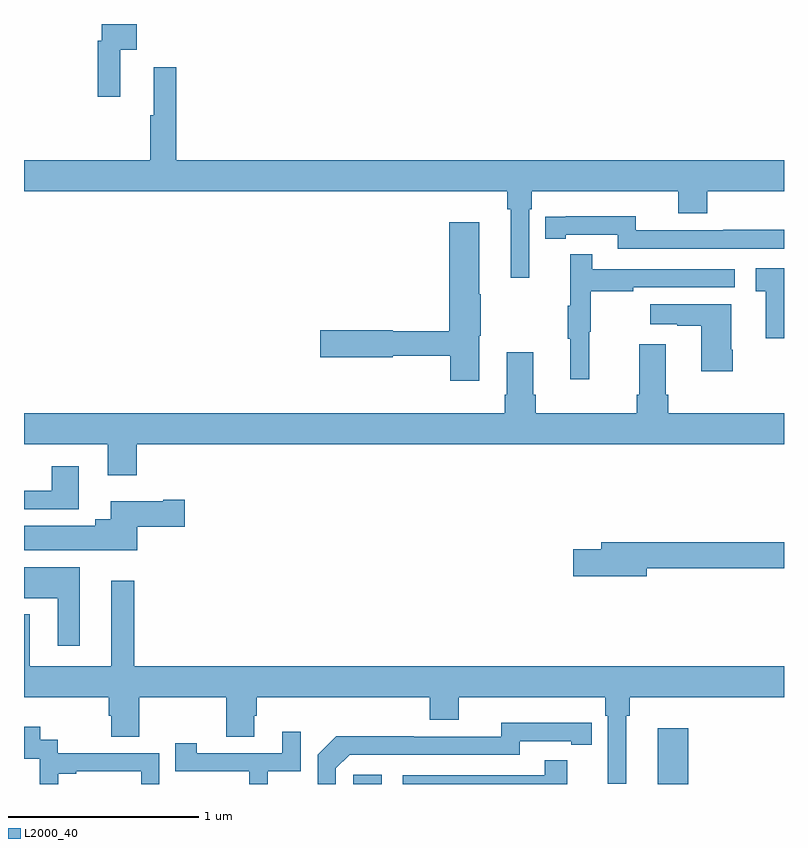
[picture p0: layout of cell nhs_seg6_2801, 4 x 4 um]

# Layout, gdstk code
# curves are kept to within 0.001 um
import gdstk
lib = gdstk.Library(unit=1e-6, precision=1e-09)
def R(c, l, rs):  # rectangles x0, y0, x1, y1
    for r in rs: c.add(gdstk.rectangle(r[:2], r[2:], *l))
def P(c, l, *ps):  # polygons
    for p in ps: c.add(gdstk.Polygon(p, *l))
L2000_40 = (2000, 40)

nhs_seg6_2801 = lib.new_cell('nhs_seg6_2801')
R(nhs_seg6_2801, L2000_40, [(276.732,993.5,276.883,993.55), (278.336,993.5,278.495,993.793)])
P(nhs_seg6_2801, L2000_40, [(275.507,997.364),(275.593,997.364),(275.593,997.5),(275.409,997.5),(275.409,997.412),(275.389,997.412),(275.389,997.116),(275.507,997.116)],
  [(275.684,997.273),(275.684,997.02),(275.665,997.02),(275.665,996.784),(275,996.784),(275,996.62),(277.543,996.62),(277.543,996.524),(277.562,996.524),(277.562,996.165),(277.659,996.165),(277.659,996.524),(277.673,996.524),(277.673,996.62),(278.444,996.62),(278.444,996.503),(278.597,996.503),(278.597,996.62),(279,996.62),(279,996.784),(275.801,996.784),(275.801,997.273)],
  [(279,996.416),(278.68,996.416),(278.68,996.414),(278.22,996.414),(278.22,996.487),(277.852,996.487),(277.852,996.486),(277.744,996.486),(277.744,996.37),(277.852,996.37),(277.852,996.39),(278.124,996.39),(278.124,996.318),(279,996.318)],
  [(277.396,995.859),(277.404,995.859),(277.404,996.077),(277.396,996.077),(277.396,996.457),(277.238,996.457),(277.238,995.882),(276.942,995.882),(276.942,995.888),(276.558,995.888),(276.558,995.746),(276.942,995.746),(276.942,995.754),(277.243,995.754),(277.243,995.622),(277.396,995.622)],
  [(277.976,995.88),(277.984,995.88),(277.984,996.094),(278.207,996.094),(278.207,996.114),(278.74,996.114),(278.74,996.21),(277.991,996.21),(277.991,996.289),(277.874,996.289),(277.874,996.017),(277.863,996.017),(277.863,995.843),(277.874,995.843),(277.874,995.631),(277.976,995.631)],
  [(279,996.214),(278.85,996.214),(278.85,996.093),(278.903,996.093),(278.903,995.847),(279,995.847)],
  [(278.73,995.785),(278.722,995.785),(278.722,996.025),(278.295,996.025),(278.295,995.921),(278.438,995.921),(278.438,995.911),(278.564,995.911),(278.564,995.673),(278.73,995.673)],
  [(275.594,995.288),(279,995.288),(279,995.452),(278.39,995.452),(278.39,995.548),(278.377,995.548),(278.377,995.815),(278.237,995.815),(278.237,995.548),(278.225,995.548),(278.225,995.452),(277.694,995.452),(277.694,995.548),(277.681,995.548),(277.681,995.773),(277.541,995.773),(277.541,995.548),(277.529,995.548),(277.529,995.452),(275,995.452),(275,995.288),(275.441,995.288),(275.441,995.124),(275.594,995.124)],
  [(275.287,995.173),(275.147,995.173),(275.147,995.043),(275,995.043),(275,994.947),(275.287,994.947)],
  [(275.596,994.853),(275.845,994.853),(275.845,994.995),(275.732,994.995),(275.732,994.987),(275.456,994.987),(275.456,994.894),(275.375,994.894),(275.375,994.858),(275,994.858),(275,994.73),(275.596,994.73)],
  [(278.278,994.636),(279,994.636),(279,994.772),(278.039,994.772),(278.039,994.736),(277.89,994.736),(277.89,994.594),(278.278,994.594)],
  [(275.293,994.642),(275,994.642),(275,994.478),(275.177,994.478),(275.177,994.227),(275.293,994.227)],
  [(278.17,993.86),(278.189,993.86),(278.189,993.956),(279,993.956),(279,994.12),(275.581,994.12),(275.581,994.57),(275.459,994.57),(275.459,994.12),(275.029,994.12),(275.029,994.393),(275,994.393),(275,993.956),(275.447,993.956),(275.447,993.858),(275.459,993.858),(275.459,993.748),(275.607,993.748),(275.607,993.956),(276.064,993.956),(276.064,993.748),(276.211,993.748),(276.211,993.858),(276.224,993.858),(276.224,993.956),(277.136,993.956),(277.136,993.839),(277.288,993.839),(277.288,993.956),(278.06,993.956),(278.06,993.86),(278.073,993.86),(278.073,993.501),(278.17,993.501)],
  [(276.642,993.582),(276.714,993.654),(277.608,993.654),(277.608,993.726),(277.88,993.726),(277.88,993.706),(277.988,993.706),(277.988,993.822),(277.512,993.823),(277.512,993.75),(277.052,993.75),(277.052,993.752),(276.644,993.752),(276.546,993.654),(276.546,993.5),(276.642,993.5)],
  [(275.18,993.555),(275.275,993.555),(275.275,993.567),(275.616,993.567),(275.616,993.5),(275.712,993.5),(275.712,993.663),(275.178,993.663),(275.178,993.732),(275.086,993.732),(275.086,993.802),(275,993.802),(275,993.633),(275.082,993.633),(275.082,993.5),(275.18,993.5)],
  [(276.282,993.567),(276.456,993.567),(276.456,993.775),(276.359,993.775),(276.359,993.663),(275.908,993.663),(275.908,993.715),(275.797,993.715),(275.797,993.567),(276.186,993.567),(276.186,993.5),(276.282,993.5)],
  [(277.859,993.625),(277.741,993.625),(277.741,993.546),(276.993,993.546),(276.993,993.5),(277.859,993.5)])

lib.write_gds('nhs_seg6_2801.gds')
